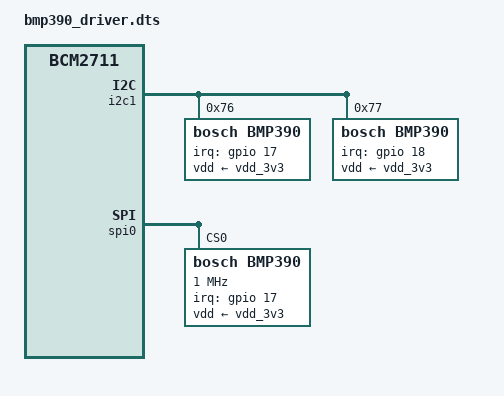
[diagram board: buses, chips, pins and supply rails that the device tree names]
/dts-v1/;
/plugin/;

/*
 * Device tree overlay for BMP390 pressure and temperature sensor
 * Supports I2C and SPI interfaces on Raspberry Pi platforms
 * Compatible with BCM2835 and BCM2711
 *
 * Properties:
 *   - operation-mode: "default", "periodic", or "async"
 *   - fifo-watermark: FIFO watermark level (1-255)
 *   - output-data-rate: Output data rate (0-7, corresponding to 0.78Hz to 100Hz)
 */

/ {
    compatible = "brcm,bcm2835", "brcm,bcm2711";

    fragment@0 {
        target = <&i2c1>;
        __overlay__ {
            #address-cells = <1>;
            #size-cells = <0>;
            status = "okay";

            bmp390@76 {
                compatible = "bosch,bmp390";
                reg = <0x76>;
                interrupt-parent = <&gpio>;
                interrupts = <17 1>; /* GPIO17, rising edge */
                vdd-supply = <&vdd_3v3>;
                operation-mode = "periodic";
                fifo-watermark = <1>;
                output-data-rate = <5>; /* 25 Hz */
                shared-memory-size = <0x1000>;
            };

            bmp390@77 {
                compatible = "bosch,bmp390";
                reg = <0x77>;
                interrupt-parent = <&gpio>;
                interrupts = <18 1>; /* GPIO18, rising edge */
                vdd-supply = <&vdd_3v3>;
                operation-mode = "async";
                fifo-watermark = <1>;
                output-data-rate = <5>; /* 25 Hz */
                shared-memory-size = <0x1000>;
            };
        };
    };

    fragment@1 {
        target = <&spi0>;
        __overlay__ {
            #address-cells = <1>;
            #size-cells = <0>;
            status = "okay";

            bmp390@0 {
                compatible = "bosch,bmp390";
                reg = <0>;
                spi-max-frequency = <1000000>;
                interrupt-parent = <&gpio>;
                interrupts = <17 1>; /* GPIO17, rising edge */
                vdd-supply = <&vdd_3v3>;
                operation-mode = "periodic";
                fifo-watermark = <1>;
                output-data-rate = <5>; /* 25 Hz */
                shared-memory-size = <0x1000>;
            };
        };
    };
};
